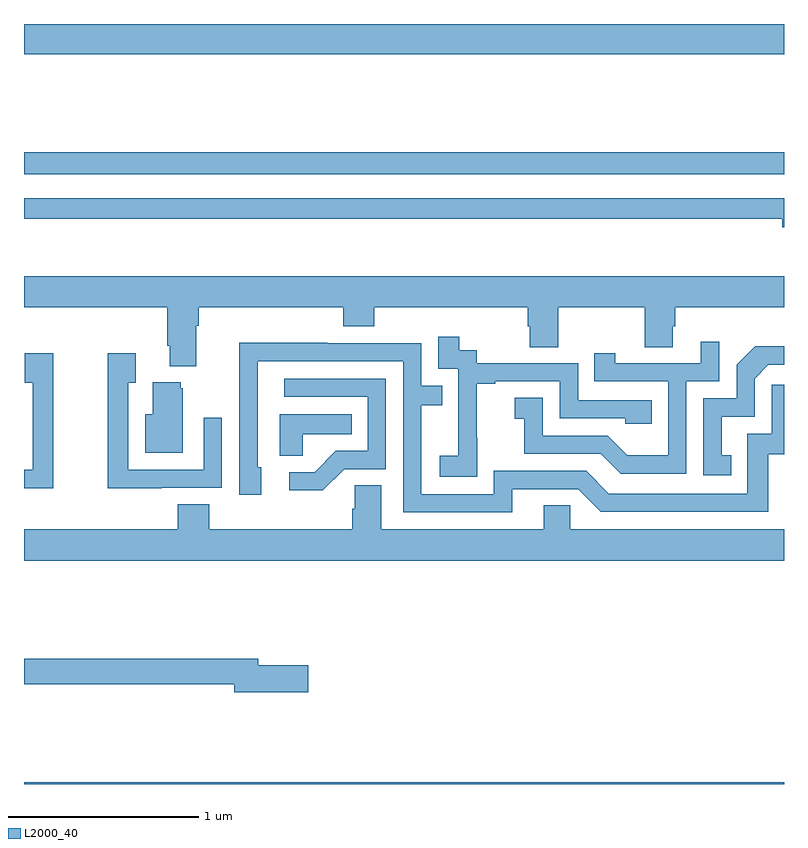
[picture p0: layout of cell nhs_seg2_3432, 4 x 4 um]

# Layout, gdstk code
import gdstk
lib = gdstk.Library(unit=1e-6, precision=1e-09)
def R(c, l, rs):  # rectangles x0, y0, x1, y1
    for r in rs: c.add(gdstk.rectangle(r[:2], r[2:], *l))
def P(c, l, *ps):  # polygons
    for p in ps: c.add(gdstk.Polygon(p, *l))
L2000_40 = (2000, 40)

nhs_seg2_3432 = lib.new_cell('nhs_seg2_3432')
R(nhs_seg2_3432, L2000_40, [(291,639.8,295,639.808), (291,643.008,295,643.124), (291,643.64,295,643.8)])
P(nhs_seg2_3432, L2000_40, [(295,642.882),(291,642.882),(291,642.774),(294.992,642.774),(294.992,642.731),(295,642.731)],
  [(291.907,642.212),(291.92,642.212),(291.92,642.308),(292.679,642.308),(292.679,642.209),(292.844,642.209),(292.844,642.308),(293.651,642.308),(293.651,642.21),(293.663,642.21),(293.663,642.1),(293.811,642.1),(293.811,642.308),(294.268,642.308),(294.268,642.1),(294.415,642.1),(294.415,642.21),(294.428,642.21),(294.428,642.308),(295,642.308),(295,642.472),(291,642.472),(291,642.308),(291.755,642.308),(291.755,642.106),(291.767,642.106),(291.767,641.999),(291.907,641.999)],
  [(293.385,641.623),(293.384,641.623),(293.384,641.907),(293.479,641.907),(293.479,641.919),(293.82,641.919),(293.82,641.724),(294.165,641.724),(294.165,641.697),(294.305,641.697),(294.305,641.82),(293.916,641.82),(293.916,642.015),(293.382,642.015),(293.382,642.084),(293.29,642.084),(293.29,642.154),(293.181,642.154),(293.181,641.985),(293.286,641.985),(293.286,641.756),(293.285,641.756),(293.285,641.527),(293.187,641.527),(293.187,641.417),(293.385,641.417)],
  [(294.486,641.919),(294.66,641.919),(294.66,642.127),(294.563,642.127),(294.563,642.015),(294.112,642.015),(294.112,642.067),(294.001,642.067),(294.001,641.919),(294.39,641.919),(294.39,641.53),(294.176,641.53),(294.072,641.634),(293.73,641.634),(293.73,641.833),(293.583,641.833),(293.583,641.723),(293.632,641.723),(293.632,641.538),(294.035,641.538),(294.14,641.433),(294.486,641.433)],
  [(293.569,641.352),(293.916,641.352),(294.036,641.232),(294.916,641.232),(294.916,641.535),(295,641.535),(295,641.902),(294.936,641.902),(294.936,641.643),(294.807,641.643),(294.807,641.328),(294.078,641.328),(293.958,641.448),(293.472,641.448),(293.472,641.325),(293.091,641.325),(293.091,641.794),(293.201,641.794),(293.201,641.895),(293.091,641.895),(293.091,642.12),(292.595,642.12),(292.595,642.122),(292.132,642.122),(292.132,641.815),(292.134,641.815),(292.134,641.322),(292.249,641.322),(292.249,641.466),(292.23,641.466),(292.23,642.024),(292.995,642.024),(292.995,641.229),(293.569,641.229)],
  [(294.722,641.529),(294.673,641.529),(294.673,641.733),(294.846,641.733),(294.846,641.934),(294.918,642.006),(295,642.006),(295,642.104),(294.848,642.104),(294.75,642.006),(294.75,641.829),(294.576,641.829),(294.576,641.424),(294.722,641.424)],
  [(291.154,642.067),(291.005,642.067),(291.005,641.911),(291.045,641.911),(291.045,641.454),(291,641.454),(291,641.357),(291.154,641.357)],
  [(291.725,641.358),(292.041,641.358),(292.041,641.728),(291.945,641.728),(291.945,641.454),(291.549,641.454),(291.549,641.911),(291.589,641.911),(291.589,642.067),(291.441,642.067),(291.441,641.357),(291.725,641.357)],
  [(292.686,641.457),(292.905,641.457),(292.905,641.934),(292.371,641.934),(292.371,641.838),(292.809,641.838),(292.809,641.553),(292.64,641.553),(292.529,641.442),(292.395,641.442),(292.395,641.345),(292.573,641.345)],
  [(291.835,641.883),(291.824,641.883),(291.824,641.914),(291.677,641.914),(291.677,641.746),(291.638,641.746),(291.638,641.543),(291.835,641.543)],
  [(292.467,641.642),(292.724,641.642),(292.724,641.746),(292.346,641.746),(292.346,641.527),(292.467,641.527)],
  [(295,641.14),(293.874,641.14),(293.874,641.267),(293.735,641.267),(293.735,641.14),(292.879,641.14),(292.879,641.372),(292.74,641.372),(292.74,641.249),(292.727,641.249),(292.727,641.14),(291.974,641.14),(291.974,641.273),(291.809,641.273),(291.809,641.14),(291,641.14),(291,640.976),(295,640.976)],
  [(292.495,640.424),(292.234,640.424),(292.234,640.46),(291,640.46),(291,640.324),(292.106,640.324),(292.106,640.282),(292.495,640.282)])

lib.write_gds('nhs_seg2_3432.gds')
